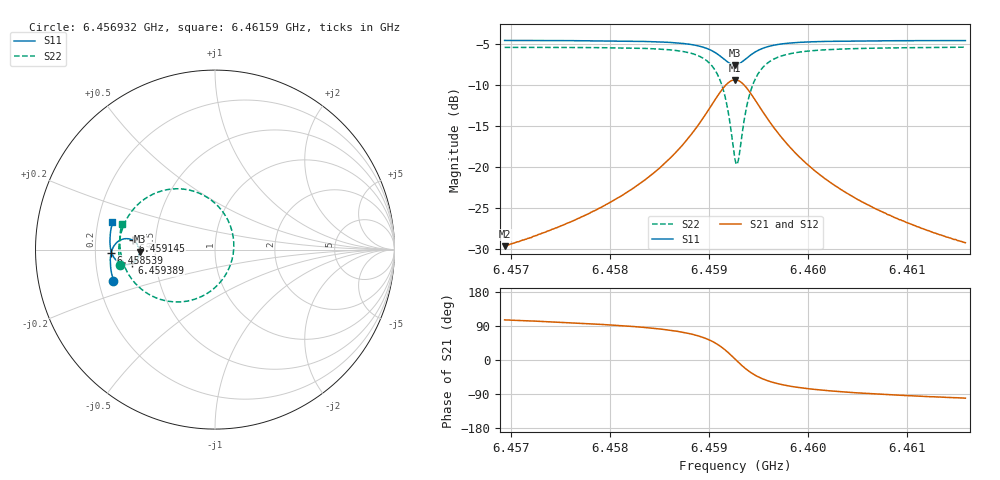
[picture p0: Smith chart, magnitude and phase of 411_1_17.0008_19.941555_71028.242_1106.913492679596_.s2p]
#  HZ  S  RI  R  50.00
! Rohde & Schwarz Vector Network Analyzer
! Rohde-Schwarz,ZNB20-2Port,1311601062101988,3.16
! Created: UTC 3/20/2024, 11:10:27 PM
! freq[Hz]  re:S11  im:S11  re:S21  im:S21  re:S12  im:S12  re:S22  im:S22
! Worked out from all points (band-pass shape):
!   401 points, 6.456932 GHz to 6.46159 GHz, reference 50 ohm
!   highest |S21| = -9.35 dB at 6.459261 GHz (marker M1); lowest = -29.6 dB at 6.456932 GHz (marker M2)
!   |S21| within 3 dB of the highest: 6.459029 GHz to 6.459494 GHz (465.4 kHz wide, 0.00721 % of centre)
!   lowest |S11| = -7.5 dB at 6.459261 GHz (marker M3), VSWR 2.45, Z = 20.4 - j0.545 ohm
!   |S11| at or under -10 dB: nowhere
!   |S22| runs from -19.6 to -5.4 dB; largest |S21 - S12| = 0.013
!   S11 on the Smith chart (normalised r, x): 6.456932 GHz: 0.26, -0.14; 6.458539 GHz: 0.27, -0.01; 6.459145 GHz: 0.37, +0.05; 6.459389 GHz: 0.37, -0.07; 6.46159 GHz: 0.26, +0.12
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6.4569322e9  -0.5656 -0.1756  -0.00907 0.0318  -0.00727 0.0318  -0.5299 -0.0885
6.4577124e9  -0.5802 -0.1077  -0.00578 0.0497  -0.00338 0.0491  -0.536 0.00156
6.4581316e9  -0.5835 -0.0661  -0.000348 0.0682  0.00281 0.0669  -0.5292 0.0667
6.4584925e9  -0.5798 -0.0234  0.0134 0.0973  0.0174 0.0947  -0.5041 0.1462
6.4585391e9  -0.5784 -0.0171  0.0168 0.1028  0.0209 0.0999  -0.4979 0.1594
6.4587487e9  -0.5664 0.0147  0.0425 0.1343  0.0467 0.1295  -0.4498 0.2307
6.4589001e9  -0.5455 0.0409  0.0845 0.1642  0.0878 0.1578  -0.3727 0.2946
6.4590515e9  -0.5 0.0608  0.1752 0.1834  0.1761 0.1761  -0.207 0.3389
6.4591446e9  -0.4559 0.0509  0.264 0.1531  0.2643 0.1471  -0.0426 0.2904
6.4591912e9  -0.4349 0.0324  0.3073 0.1109  0.3086 0.1055  0.0397 0.2156
6.459261e9  -0.4202 -0.011  0.3406 0.0154  0.3442 0.00847  0.1046 0.0386
6.4592727e9  -0.4206 -0.019  0.3405 -0.00212  0.3441 -0.00973  0.1045 0.00543
6.459296e9  -0.4239 -0.0344  0.3352 -0.0365  0.3388 -0.0455  0.0939 -0.0596
6.4593426e9  -0.4394 -0.0601  0.3071 -0.0958  0.3094 -0.1075  0.0376 -0.1713
6.4593891e9  -0.4611 -0.0761  0.2657 -0.1364  0.265 -0.1494  -0.0458 -0.2455
6.4594823e9  -0.504 -0.0827  0.1821 -0.1675  0.1762 -0.1788  -0.2121 -0.2919
6.4596337e9  -0.5473 -0.0622  0.0954 -0.1541  0.0872 -0.1603  -0.3774 -0.2438
6.4597967e9  -0.5684 -0.0347  0.0511 -0.1268  0.0435 -0.1295  -0.4572 -0.1727
6.4600412e9  -0.5812 0.00088  0.0222 -0.0957  0.0165 -0.0965  -0.5049 -0.0911
6.4603905e9  -0.5856 0.042  0.0063 -0.0693  0.00233 -0.0691  -0.5264 -0.0128
6.4608214e9  -0.5836 0.085  -0.0014 -0.0512  -0.00411 -0.0502  -0.5304 0.0552
6.4615899e9  -0.5711 0.1529  -0.00645 -0.0342  -0.00807 -0.0331  -0.519 0.145
